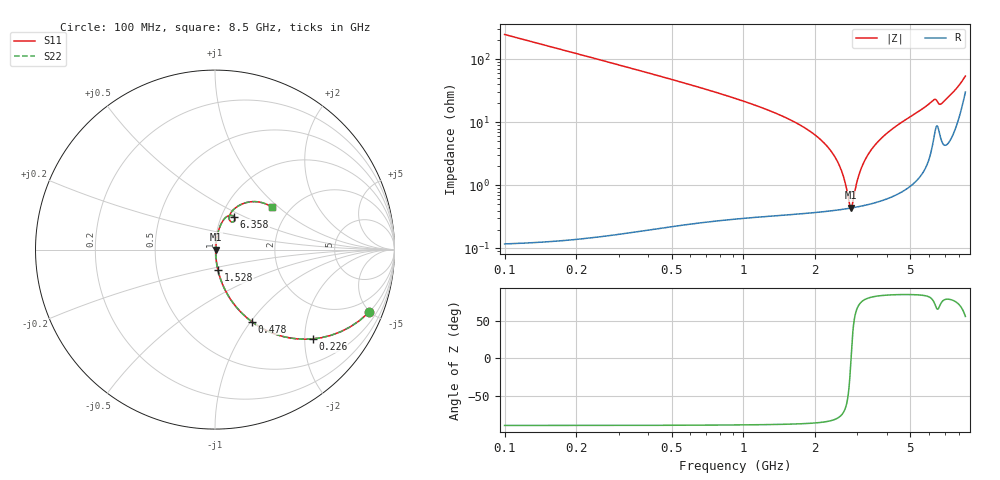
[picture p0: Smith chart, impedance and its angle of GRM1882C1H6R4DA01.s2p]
!Murata Part Number: GRM1882C1H6R4DA01
!These Parameters are Measured in Series Mode Connection
!Data Generated on Mar 30, 2021
!  o--ll--o
!Port1  Port2
!  o------o
!Operation Temp=25[degC], DC Bias Voltage=0[V]
!Freq. Start=100[MHz] Stop=9[GHz] 401[Steps]
# Hz S RI R 50
!Freq.(Hz) S11(Real) S11(Imag) S21(Real) S21(Imag) S12(Real) S12(Imag) S22(Real) S22(Imag)
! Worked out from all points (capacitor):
!   401 points, 100 MHz to 8.5 GHz, reference 50 ohm
!   read as one part in series: C = 6.4 pF near 142 MHz
!   lowest |Z| = 442 mohm at 2.83 GHz (marker M1)
!   series resonance near 2.822 GHz, so ESL is about 500 pH
!   S11 on the Smith chart (normalised r, x): 100 MHz: 1.00, -4.97; 226 MHz: 1.00, -2.19; 478 MHz: 1.00, -1.01; 1.528 GHz: 1.01, -0.23; 6.358 GHz: 1.15, +0.44; 8.5 GHz: 1.61, +0.90
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1e8  0.8604 -0.3464  0.1396 0.3464  0.1396 0.3464  0.8604 -0.3464
2.26e8  0.5442 -0.4974  0.4558 0.4974  0.4558 0.4974  0.5442 -0.4974
3.52e8  0.326 -0.4674  0.674 0.4674  0.674 0.4674  0.326 -0.4674
4.78e8  0.204 -0.4009  0.796 0.4009  0.796 0.4009  0.204 -0.4009
8.35e8  0.071 -0.2516  0.929 0.2516  0.929 0.2516  0.071 -0.2516
1.507e9  0.0171 -0.1162  0.9829 0.1162  0.9829 0.1162  0.0171 -0.1162
1.528e9  0.0165 -0.1134  0.9835 0.1134  0.9835 0.1134  0.0165 -0.1134
2.053e9  0.00704 -0.0572  0.993 0.0572  0.993 0.0572  0.00704 -0.0572
2.389e9  0.00488 -0.0298  0.9951 0.0298  0.9951 0.0298  0.00488 -0.0298
2.578e9  0.0044 -0.0162  0.9956 0.0162  0.9956 0.0162  0.0044 -0.0162
2.788e9  0.00434 -0.00218  0.9957 0.00218  0.9957 0.00218  0.00434 -0.00218
2.83e9  0.00437 0.000515  0.9956 -0.000515  0.9956 -0.000515  0.00437 0.000515
2.914e9  0.00449 0.0058  0.9955 -0.0058  0.9955 -0.0058  0.00449 0.0058
3.082e9  0.0049 0.016  0.9951 -0.016  0.9951 -0.016  0.0049 0.016
3.355e9  0.006 0.0318  0.994 -0.0318  0.994 -0.0318  0.006 0.0318
3.754e9  0.00852 0.0536  0.9915 -0.0536  0.9915 -0.0536  0.00852 0.0536
4.3e9  0.0137 0.0822  0.9863 -0.0822  0.9863 -0.0822  0.0137 0.0822
5.707e9  0.0436 0.1601  0.9564 -0.1601  0.9564 -0.1601  0.0436 0.1601
6.358e9  0.107 0.1828  0.893 -0.1828  0.893 -0.1828  0.107 0.1828
6.652e9  0.0861 0.1575  0.9139 -0.1575  0.9139 -0.1575  0.0861 0.1575
7.114e9  0.0894 0.2064  0.9106 -0.2064  0.9106 -0.2064  0.0894 0.2064
8.5e9  0.3149 0.2376  0.6851 -0.2376  0.6851 -0.2376  0.3149 0.2376
